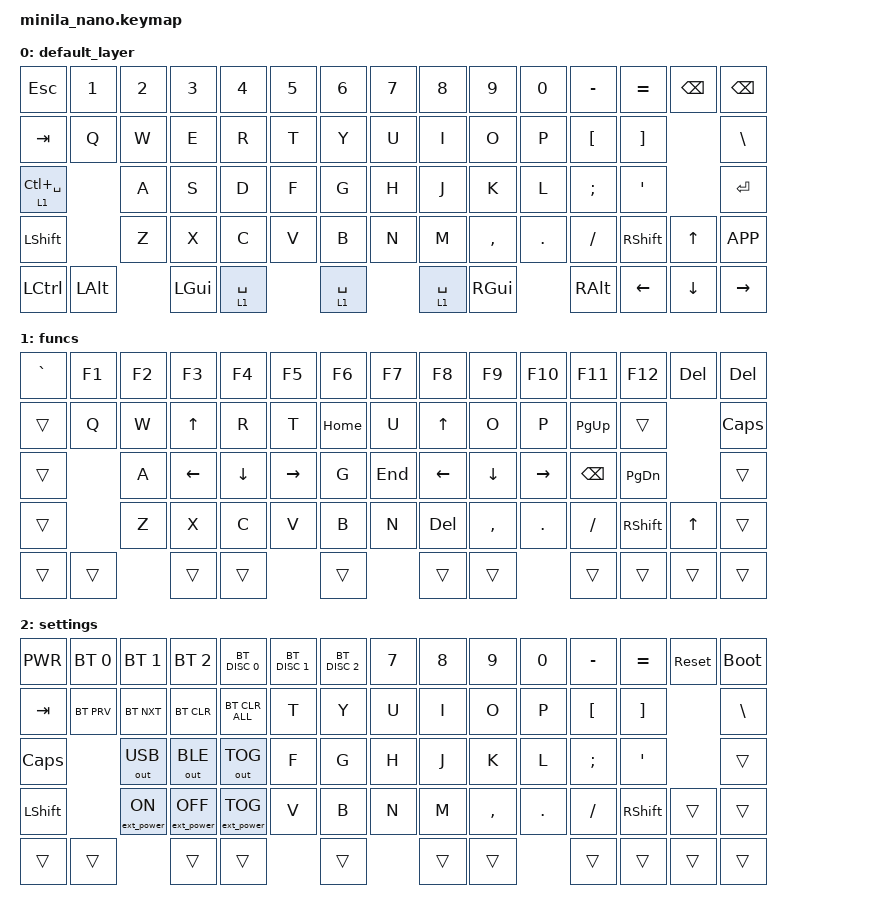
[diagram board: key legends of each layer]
/*
 * Copyright (c) 2020 The ZMK Contributors
 *
 * SPDX-License-Identifier: MIT
 */

#include <behaviors.dtsi>
#include <dt-bindings/zmk/bt.h>
#include <dt-bindings/zmk/ext_power.h>
#include <dt-bindings/zmk/keys.h>
#include <dt-bindings/zmk/outputs.h>

/ {
    behaviors {
        swkp: behavior_swkp {
            compatible = "zmk,behavior-hold-tap";
            #binding-cells = <2>;
            flavor = "hold-preferred";
            tapping-term-ms = <200>;
            bindings = <&kp>, <&kp>;
        };
    };

    combos {
        compatible = "zmk,combos";

        layer-settings {
            bindings = <&mo 2>;
            key-positions = <55 66>;
        };

        del {
            bindings = <&kp DEL>;
            key-positions = <13 14>;
        };
    };

    keymap {
        compatible = "zmk,keymap";

        default_layer {
            // ------------------------------------------------------------------------------------------
            // | ESC |  1  |  2  |  3  |  4  |  5  |  6  |  7  |  8  |  9  |  0  |  -  |  =  | BKSP | LT(2,BKSP) |
            // | TAB  |  Q  |  W  |  E  |  R  |  T  |  Y  |  U  |  I  |  O  |  P  |  [  |  ]  |    \    |
            // | CAPS  |  A  |  S  |  D  |  F  |  G  |  H  |  J  |  K  |  L  |  ;  |  '  |     ENTER    |
            // |  SHIFT |  Z  |  X  |  C  |  V  |  B  |  N  |  M  |  ,  |  .  |  /  |    SHIFT     |  UP  | GLOBE |
            // |  CTL  | ALT | WIN |LT(1,SPACE)| LT(1,SPACE) |LT(1,SPACE)| WIN | OPT |MT(CTRL,LEFT)| DOWN | RIGHT|
            // ------------------------------------------------------------------------------------------

            bindings = <
&kp ESC           &kp N1        &kp N2  &kp N3        &kp N4       &kp N5  &kp N6       &kp N7  &kp N8       &kp N9         &kp N0   &kp MINUS      &kp EQUAL  &kp BSPC  &kp BSPC
&kp TAB           &kp Q         &kp W   &kp E         &kp R        &kp T   &kp Y        &kp U   &kp I        &kp O          &kp P    &kp LBKT       &kp RBKT             &kp BSLH
&lt 1 LC(SPACE)                 &kp A   &kp S         &kp D        &kp F   &kp G        &kp H   &kp J        &kp K          &kp L    &kp SEMI       &kp SQT              &kp RET
&kp LSHFT                       &kp Z   &kp X         &kp C        &kp V   &kp B        &kp N   &kp M        &kp COMMA      &kp DOT  &kp FSLH       &kp RSHFT  &kp UP    &kp K_APP
&kp LEFT_CONTROL  &kp LEFT_ALT          &kp LEFT_GUI  &lt 1 SPACE          &lt 1 SPACE          &lt 1 SPACE  &kp RIGHT_GUI           &kp RIGHT_ALT  &kp LEFT   &kp DOWN  &kp RIGHT
            >;
        };

        funcs {
            // ------------------------------------------------------------------------------------------
            // | GRAVE |  F1 |  F2  |  F3  |  F4   |  F5 |  F6 |  F7 |  F8   |  F9   | F10  | F11 | F12 | BKSP | DEL |
            // |   TAB  |  Q  |   W  |  UP  |   R   |  T  |  Y  |   U  |  UP  |   O   |  P   |  [  |  ]  |    \    |
            // | CAPS    |  A  | LEFT | DOWN | RIGHT |  G  |  H  | LEFT | DOWN | RIGHT | BKSP |  '  |     ENTER    |
            // |  SHIFT |  Z  |  X  |  C  |  V  |  B  |  N  |  DEL  |  ,  |  .  |  /  |    SHIFT     |  UP  | GLOBE |
            // |  CTL  | ALT | WIN |LT(1,SPACE)| LT(1,SPACE) |LT(1,SPACE)| WIN | OPT |MT(CTRL,LEFT)| DOWN | RIGHT|
            // ------------------------------------------------------------------------------------------

            bindings = <
&kp GRAVE  &kp F1  &kp F2  &kp F3    &kp F4    &kp F5     &kp F6    &kp F7   &kp F8    &kp F9     &kp F10    &kp F11      &kp F12        &kp DEL  &kp DEL
&trans     &kp Q   &kp W   &kp UP    &kp R     &kp T      &kp HOME  &kp U    &kp UP    &kp O      &kp P      &kp PAGE_UP  &trans                  &kp CAPS
&trans             &kp A   &kp LEFT  &kp DOWN  &kp RIGHT  &kp G     &kp END  &kp LEFT  &kp DOWN   &kp RIGHT  &kp BSPC     &kp PAGE_DOWN           &trans
&trans             &kp Z   &kp X     &kp C     &kp V      &kp B     &kp N    &kp DEL   &kp COMMA  &kp DOT    &kp FSLH     &kp RSHFT      &kp UP   &trans
&trans     &trans          &trans    &trans               &trans             &trans    &trans                &trans       &trans         &trans   &trans
            >;
        };

        settings {
            // ------------------------------------------------------------------------------------------
            // | C_PWR | BT_SEL 1 | BT_SEL 2 | BT_SEL 3 |  4  |  5  |  6  |  7  |  8  |  9  |  0  | BT_PRV | BT_NXT | BT_CLR | LT(2,BKSP) |
            // | TAB    |     Q    |    W     |    E     |  R  |  T  |  Y  |  U  |  I  |  O  |  P  |   [    |   ]    |    \    |
            // | CAPS    |     A    |    S     |    D     |  F  |  G  |  H  |  J  |  K  |  L  |  ;  |  '     |     SYS_RESET   |
            // |  SHIFT   |     Z    |    X     |    C     |  V  |  B  |  N  |  M  |  ,  |  .  |  /  | SHIFT |  UP  | BOOTLOADER |
            // |  CTL    | ALT | WIN | LT(1,SPACE) |  LT(1,SPACE)  |  LT(1,SPACE)  |  WIN  | OPT |  OUT_USB  | OUT_BLE | OUT_TOG |
            // ------------------------------------------------------------------------------------------

            bindings = <
&kp C_PWR     &bt BT_SEL 0  &bt BT_SEL 1      &bt BT_SEL 2       &bt BT_DISC 0      &bt BT_DISC 1  &bt BT_DISC 2  &kp N7  &kp N8  &kp N9     &kp N0   &kp MINUS  &kp EQUAL  &sys_reset  &bootloader
&kp TAB       &bt BT_PRV    &bt BT_NXT        &bt BT_CLR         &bt BT_CLR_ALL     &kp T          &kp Y          &kp U   &kp I   &kp O      &kp P    &kp LBKT   &kp RBKT               &kp BSLH
&kp CAPSLOCK                &out OUT_USB      &out OUT_BLE       &out OUT_TOG       &kp F          &kp G          &kp H   &kp J   &kp K      &kp L    &kp SEMI   &kp SQT                &trans
&kp LSHFT                   &ext_power EP_ON  &ext_power EP_OFF  &ext_power EP_TOG  &kp V          &kp B          &kp N   &kp M   &kp COMMA  &kp DOT  &kp FSLH   &kp RSHFT  &trans      &trans
&trans        &trans                          &trans             &trans                            &trans                 &trans  &trans              &trans     &trans     &trans      &trans
            >;
        };
    };
};
